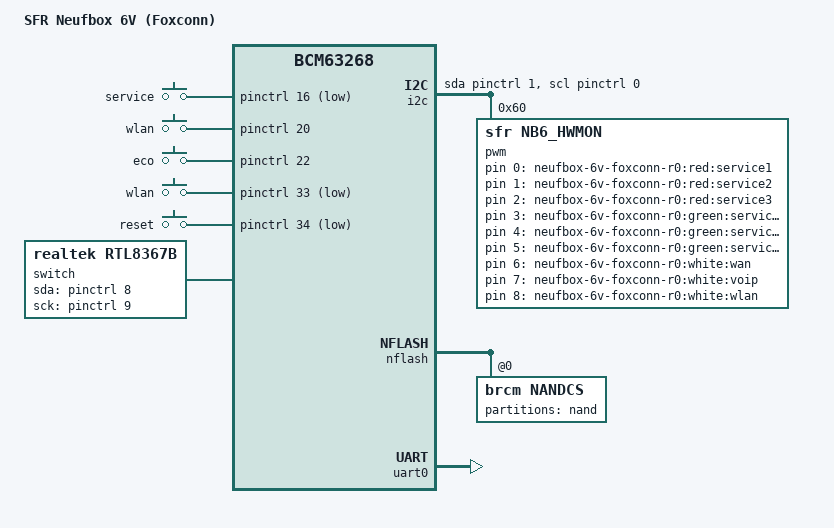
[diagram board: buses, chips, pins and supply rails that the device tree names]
// SPDX-License-Identifier: GPL-2.0-or-later

/dts-v1/;

#include "bcm63268.dtsi"

#include <dt-bindings/gpio/gpio.h>
#include <dt-bindings/input/input.h>

/ {
	model = "SFR Neufbox 6V (Foxconn)";
	compatible = "sfr,neufbox-6v-foxconn-r0", "brcm,bcm63168", "brcm,bcm63268";

	aliases {
		led-boot = &led_service1_green;
		led-failsafe = &led_service1_red;
		led-running = &led_service1_green;
		led-upgrade = &led_service1_green;
	};

	chosen {
		bootargs = "rootfstype=squashfs,ubifs noinitrd console=ttyS0,115200";
		stdout-path = "serial0:115200n8";
	};

	i2c {
		compatible = "i2c-gpio";
		sda-gpios = <&pinctrl 1 (GPIO_ACTIVE_HIGH|GPIO_OPEN_DRAIN)>;
		scl-gpios = <&pinctrl 0 (GPIO_ACTIVE_HIGH|GPIO_OPEN_DRAIN)>;
		#address-cells = <1>;
		#size-cells = <0>;

		pwm: nb6-hwmon@60 {
			compatible = "sfr,nb6_hwmon";
			reg = <0x60>;
			#pwm-cells = <2>;
		};
	};

	keys {
		compatible = "gpio-keys-polled";
		#address-cells = <1>;
		#size-cells = <0>;
		poll-interval = <20>;

		service {
			label = "service";
			gpios = <&pinctrl 16 1>;
			linux,code = <BTN_0>;
			debounce-interval = <60>;
		};

		wlan {
			label = "wlan";
			gpios = <&pinctrl 20 0>;
			linux,code = <KEY_WLAN>;
			debounce-interval = <60>;
		};

		eco {
			label = "eco";
			gpios = <&pinctrl 22 0>;
			linux,code = <BTN_1>;
			debounce-interval = <60>;
		};

		wps {
			label = "wlan";
			gpios = <&pinctrl 33 1>;
			linux,code = <KEY_WPS_BUTTON>;
			debounce-interval = <60>;
		};

		reset {
			label = "reset";
			gpios = <&pinctrl 34 1>;
			linux,code = <KEY_RESTART>;
			debounce-interval = <60>;
		};
	};

	pwm-leds {
		compatible = "pwm-leds";

		led_service1_red: service1_red {
			label = "neufbox-6v-foxconn-r0:red:service1";
			pwms = <&pwm 0 31>;
			max-brightness = <31>;
		};

		service2_red {
			label = "neufbox-6v-foxconn-r0:red:service2";
			pwms = <&pwm 1 31>;
			max-brightness = <31>;
		};

		service3_red {
			label = "neufbox-6v-foxconn-r0:red:service3";
			pwms = <&pwm 2 31>;
			max-brightness = <31>;
		};

		led_service1_green: service1_green {
			label = "neufbox-6v-foxconn-r0:green:service1";
			pwms = <&pwm 3 31>;
			max-brightness = <31>;
			default-state = "on";
		};

		service2_green {
			label = "neufbox-6v-foxconn-r0:green:service2";
			pwms = <&pwm 4 31>;
			max-brightness = <31>;
		};

		service3_green {
			label = "neufbox-6v-foxconn-r0:green:service3";
			pwms = <&pwm 5 31>;
			max-brightness = <31>;
		};

		wan_white {
			label = "neufbox-6v-foxconn-r0:white:wan";
			pwms = <&pwm 6 31>;
			max-brightness = <31>;
		};

		voip_white {
			label = "neufbox-6v-foxconn-r0:white:voip";
			pwms = <&pwm 7 31>;
			max-brightness = <31>;
		};

		wlan_white {
			label = "neufbox-6v-foxconn-r0:white:wlan";
			pwms = <&pwm 8 31>;
			max-brightness = <31>;
		};
	};

	switch {
		compatible = "realtek,rtl8367b";
		gpio-sda = <&pinctrl 8 0>;
		gpio-sck = <&pinctrl 9 0>;

		realtek,extif0 = <1 5 1 1 1 1 1 1 2>;
	};
};

&nflash {
	status = "okay";

	nandcs@0 {
		compatible = "brcm,nandcs";
		#size-cells = <1>;
		#address-cells = <1>;
		reg = <0>;
		nand-ecc-step-size = <512>;
		nand-ecc-strength = <15>;

		partitions {
			compatible = "fixed-partitions";
			#address-cells = <1>;
			#size-cells = <1>;

			nand@0 {
				label = "nand";
				reg = <0x0000000 0x4000000>;
				read-only;
			};

#if 0
			partition@0 {
				label = "cferom";
				reg = <0x0000000 0x0004000>;
				read-only;
			};

			partition@4000 {
				compatible = "brcm,wfi";
				label = "wfi";
				reg = <0x0004000 0x3efc000>;
			};
#endif
		};
	};
};

&uart0 {
	status = "ok";
};
